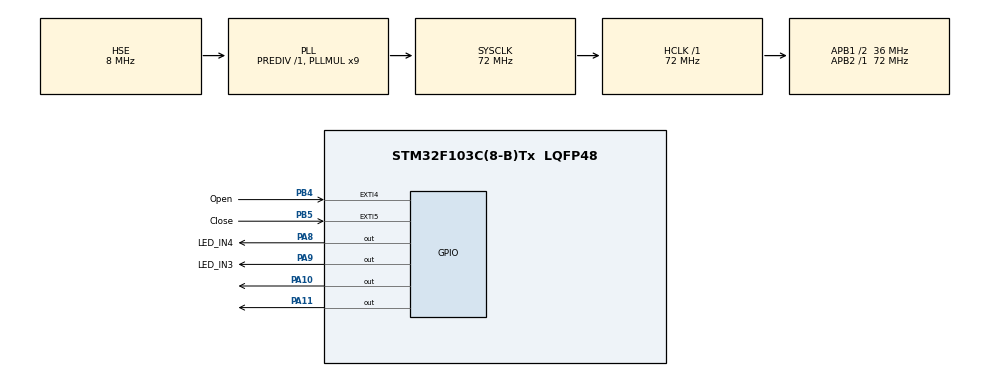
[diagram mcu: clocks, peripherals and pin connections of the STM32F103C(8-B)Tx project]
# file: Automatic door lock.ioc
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Mcu.Family=STM32F1
Mcu.Name=STM32F103C(8-B)Tx
Mcu.Package=LQFP48
NVIC.EXTI4_IRQn=true\:0\:0\:false\:false\:true\:true\:true\:true
NVIC.EXTI9_5_IRQn=true\:0\:0\:false\:false\:true\:true\:true\:true
NVIC.PriorityGroup=NVIC_PRIORITYGROUP_4
PA10.Signal=GPIO_Output
PA11.Signal=GPIO_Output
PA13.Mode=Serial_Wire
PA13.Signal=SYS_JTMS-SWDIO
PA14.Mode=Serial_Wire
PA14.Signal=SYS_JTCK-SWCLK
PA8.GPIO_Label=LED_IN4
PA8.Signal=GPIO_Output
PA9.GPIO_Label=LED_IN3
PA9.Signal=GPIO_Output
PB4.GPIO_Label=Open
PB4.GPIO_PuPd=GPIO_PULLDOWN
PB4.Signal=GPXTI4
PB5.GPIO_Label=Close
PB5.GPIO_PuPd=GPIO_PULLDOWN
PB5.Signal=GPXTI5
PD0-OSC_IN.Mode=HSE-External-Oscillator
PD0-OSC_IN.Signal=RCC_OSC_IN
PD1-OSC_OUT.Mode=HSE-External-Oscillator
PD1-OSC_OUT.Signal=RCC_OSC_OUT
ProjectManager.HeapSize=0x200
ProjectManager.StackSize=0x400
ProjectManager.TargetToolchain=STM32CubeIDE
RCC.AHBFreq_Value=72000000
RCC.APB1CLKDivider=RCC_HCLK_DIV2
RCC.APB1Freq_Value=36000000
RCC.APB1TimFreq_Value=72000000
RCC.APB2Freq_Value=72000000
RCC.APB2TimFreq_Value=72000000
RCC.HCLKFreq_Value=72000000
RCC.PLLMUL=RCC_PLL_MUL9
RCC.PLLSourceVirtual=RCC_PLLSOURCE_HSE
RCC.SYSCLKFreq_VALUE=72000000
RCC.SYSCLKSource=RCC_SYSCLKSOURCE_PLLCLK
RCC.USBFreq_Value=72000000
board=custom

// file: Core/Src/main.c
/* USER CODE BEGIN Header */
/**
 ******************************************************************************
 * @file           : main.c
 * @brief          : Main program body
 ******************************************************************************
 * @attention
 *
 * Copyright (c) 2025 STMicroelectronics.
 * All rights reserved.
 *
 * This software is licensed under terms that can be found in the LICENSE file
 * in the root directory of this software component.
 * If no LICENSE file comes with this software, it is provided AS-IS.
 *
 ******************************************************************************
 */
/* USER CODE END Header */
#include "main.h"

void SystemClock_Config(void);
static void MX_GPIO_Init(void);

/* USER CODE BEGIN 0 */
int open = 0;
int close = 0;
int light = 0;
// Debounce timing variables
uint32_t last_open_tick = 0;
uint32_t last_close_tick = 0;
const uint32_t debounce_delay = 100; // 50 ms debounce
/* USER CODE END 0 */

int main(void)
{

  /* MCU Configuration--------------------------------------------------------*/

  /* Reset of all peripherals, Initializes the Flash interface and the Systick. */
  HAL_Init();

  /* Configure the system clock */
  SystemClock_Config();

  /* Initialize all configured peripherals */
  MX_GPIO_Init();

  /* Infinite loop */
  while (1)
  {
   if (open == 1 && close == 1)
    {
      open = 0;  // Reset open if both are pressed
      close = 0; // Reset close if both are pressed
    }
    if (open == 1)
    {
      HAL_GPIO_WritePin(GPIOA, GPIO_PIN_10, GPIO_PIN_SET);
      HAL_GPIO_WritePin(GPIOA, GPIO_PIN_11, GPIO_PIN_RESET);
      HAL_Delay(400); // Delay to simulate the time taken to open
      HAL_GPIO_WritePin(GPIOA, GPIO_PIN_10, GPIO_PIN_RESET);
      HAL_GPIO_WritePin(GPIOA, GPIO_PIN_11, GPIO_PIN_RESET);
      open = 0;
      light = 1; // Turn on light when door is opened
    }
    else if (close == 1)
    {
      HAL_GPIO_WritePin(GPIOA, GPIO_PIN_10, GPIO_PIN_RESET);
      HAL_GPIO_WritePin(GPIOA, GPIO_PIN_11, GPIO_PIN_SET);
      HAL_Delay(400); // Delay to simulate the time taken to close
      HAL_GPIO_WritePin(GPIOA, GPIO_PIN_10, GPIO_PIN_RESET);
      HAL_GPIO_WritePin(GPIOA, GPIO_PIN_11, GPIO_PIN_RESET);
      close = 0;
      light = 0;
    }
    if (light == 1)
    {
      HAL_GPIO_WritePin(GPIOA, GPIO_PIN_8, GPIO_PIN_RESET);
      HAL_GPIO_WritePin(GPIOA, GPIO_PIN_9, GPIO_PIN_SET);
    } else
    {
      HAL_GPIO_WritePin(GPIOA, GPIO_PIN_8, GPIO_PIN_RESET);
      HAL_GPIO_WritePin(GPIOA, GPIO_PIN_9, GPIO_PIN_RESET);
    }

  }
}

void SystemClock_Config(void)
{
  RCC_OscInitTypeDef RCC_OscInitStruct = {0};
  RCC_ClkInitTypeDef RCC_ClkInitStruct = {0};

  /** Initializes the RCC Oscillators according to the specified parameters
  * in the RCC_OscInitTypeDef structure.
  */
  RCC_OscInitStruct.OscillatorType = RCC_OSCILLATORTYPE_HSE;
  RCC_OscInitStruct.HSEState = RCC_HSE_ON;
  RCC_OscInitStruct.HSEPredivValue = RCC_HSE_PREDIV_DIV1;
  RCC_OscInitStruct.HSIState = RCC_HSI_ON;
  RCC_OscInitStruct.PLL.PLLState = RCC_PLL_ON;
  RCC_OscInitStruct.PLL.PLLSource = RCC_PLLSOURCE_HSE;
  RCC_OscInitStruct.PLL.PLLMUL = RCC_PLL_MUL9;
  if (HAL_RCC_OscConfig(&RCC_OscInitStruct) != HAL_OK)
  {
    Error_Handler();
  }

  /** Initializes the CPU, AHB and APB buses clocks
  */
  RCC_ClkInitStruct.ClockType = RCC_CLOCKTYPE_HCLK|RCC_CLOCKTYPE_SYSCLK
                              |RCC_CLOCKTYPE_PCLK1|RCC_CLOCKTYPE_PCLK2;
  RCC_ClkInitStruct.SYSCLKSource = RCC_SYSCLKSOURCE_PLLCLK;
  RCC_ClkInitStruct.AHBCLKDivider = RCC_SYSCLK_DIV1;
  RCC_ClkInitStruct.APB1CLKDivider = RCC_HCLK_DIV2;
  RCC_ClkInitStruct.APB2CLKDivider = RCC_HCLK_DIV1;

  if (HAL_RCC_ClockConfig(&RCC_ClkInitStruct, FLASH_LATENCY_2) != HAL_OK)
  {
    Error_Handler();
  }
}

static void MX_GPIO_Init(void)
{
  GPIO_InitTypeDef GPIO_InitStruct = {0};

  /* GPIO Ports Clock Enable */
  __HAL_RCC_GPIOD_CLK_ENABLE();
  __HAL_RCC_GPIOA_CLK_ENABLE();
  __HAL_RCC_GPIOB_CLK_ENABLE();

  /*Configure GPIO pin Output Level */
  HAL_GPIO_WritePin(GPIOA, LED_IN4_Pin|LED_IN3_Pin|GPIO_PIN_10|GPIO_PIN_11, GPIO_PIN_RESET);

  /*Configure GPIO pins : LED_IN4_Pin LED_IN3_Pin PA10 PA11 */
  GPIO_InitStruct.Pin = LED_IN4_Pin|LED_IN3_Pin|GPIO_PIN_10|GPIO_PIN_11;
  GPIO_InitStruct.Mode = GPIO_MODE_OUTPUT_PP;
  GPIO_InitStruct.Pull = GPIO_NOPULL;
  GPIO_InitStruct.Speed = GPIO_SPEED_FREQ_LOW;
  HAL_GPIO_Init(GPIOA, &GPIO_InitStruct);

  /*Configure GPIO pins : Open_Pin Close_Pin */
  GPIO_InitStruct.Pin = Open_Pin|Close_Pin;
  GPIO_InitStruct.Mode = GPIO_MODE_IT_RISING;
  GPIO_InitStruct.Pull = GPIO_PULLDOWN;
  HAL_GPIO_Init(GPIOB, &GPIO_InitStruct);

  /* EXTI interrupt init*/
  HAL_NVIC_SetPriority(EXTI4_IRQn, 0, 0);
  HAL_NVIC_EnableIRQ(EXTI4_IRQn);

  HAL_NVIC_SetPriority(EXTI9_5_IRQn, 0, 0);
  HAL_NVIC_EnableIRQ(EXTI9_5_IRQn);

}

/* USER CODE BEGIN 4 */
void HAL_GPIO_EXTI_Callback(uint16_t GPIO_Pin)
{
  uint32_t now = HAL_GetTick();

  if (GPIO_Pin == Open_Pin)
  {
    if (HAL_GPIO_ReadPin(GPIOB, Close_Pin) == GPIO_PIN_SET)
    {
      open = 0; // If close is pressed, ignore open
    }
    else if (now - last_open_tick > debounce_delay)
    {
      open = 1;
      last_open_tick = now;
    }
  }
  else if (GPIO_Pin == Close_Pin)
  {
    if (HAL_GPIO_ReadPin(GPIOB, Open_Pin) == GPIO_PIN_SET)
    {
      close = 0; // If open is pressed, ignore close
    }
    else if (now - last_close_tick > debounce_delay)
    {
      close = 1;
      last_close_tick = now;
    }
  }
}
/* USER CODE END 4 */

void Error_Handler(void)
{
  __disable_irq();
  while (1)
  {
  }
}
